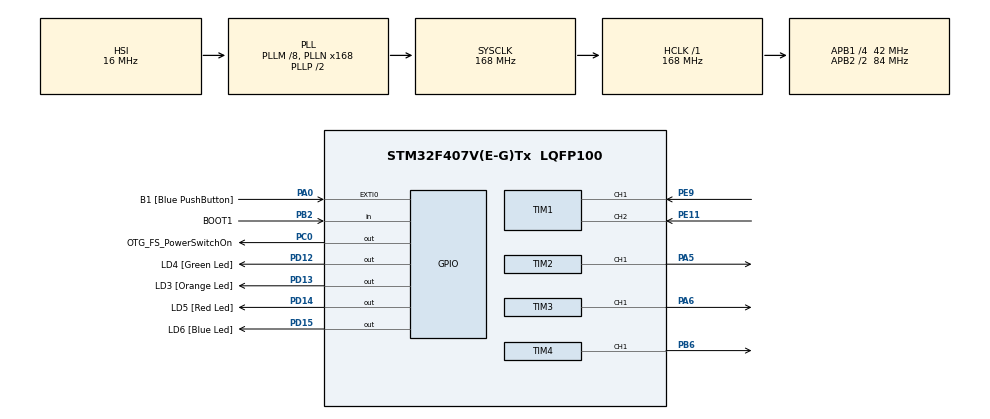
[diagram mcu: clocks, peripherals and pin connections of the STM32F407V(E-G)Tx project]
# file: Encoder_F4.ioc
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Mcu.Family=STM32F4
Mcu.Name=STM32F407V(E-G)Tx
Mcu.Package=LQFP100
NVIC.PriorityGroup=NVIC_PRIORITYGROUP_0
NVIC.TIM1_BRK_TIM9_IRQn=true\:0\:0\:false\:false\:true\:true\:true\:true
NVIC.TIM1_CC_IRQn=true\:0\:0\:false\:false\:true\:true\:true\:true
NVIC.TIM1_TRG_COM_TIM11_IRQn=true\:0\:0\:false\:false\:true\:true\:true\:true
NVIC.TIM1_UP_TIM10_IRQn=true\:0\:0\:false\:false\:true\:true\:true\:true
NVIC.TIM2_IRQn=true\:0\:0\:false\:false\:true\:true\:true\:true
NVIC.TIM3_IRQn=true\:0\:0\:false\:false\:true\:true\:true\:true
NVIC.TIM4_IRQn=true\:0\:0\:false\:false\:true\:true\:true\:true
PA0-WKUP.GPIO_Label=B1 [Blue PushButton]
PA0-WKUP.Signal=GPXTI0
PA13.GPIO_Label=SWDIO
PA13.Signal=SYS_JTMS-SWDIO
PA14.GPIO_Label=SWCLK
PA14.Signal=SYS_JTCK-SWCLK
PA5.Signal=S_TIM2_CH1_ETR
PA6.Signal=S_TIM3_CH1
PB2.GPIO_Label=BOOT1
PB2.GPIO_Mode=GPIO_MODE_INPUT
PB2.GPIO_PuPd=GPIO_NOPULL
PB2.Signal=GPIO_Input
PB3.GPIO_Label=SWO
PB3.Signal=SYS_JTDO-SWO
PB6.Signal=S_TIM4_CH1
PC0.GPIO_Label=OTG_FS_PowerSwitchOn
PC0.GPIO_PuPd=GPIO_NOPULL
PC0.GPIO_Speed=GPIO_SPEED_FREQ_LOW
PC0.PinState=GPIO_PIN_SET
PC0.Signal=GPIO_Output
PC14-OSC32_IN.Mode=LSE-External-Oscillator
PC14-OSC32_IN.Signal=RCC_OSC32_IN
PC15-OSC32_OUT.Mode=LSE-External-Oscillator
PC15-OSC32_OUT.Signal=RCC_OSC32_OUT
PD12.GPIO_Label=LD4 [Green Led]
PD12.GPIO_PuPd=GPIO_NOPULL
PD12.GPIO_Speed=GPIO_SPEED_FREQ_LOW
PD12.Signal=GPIO_Output
PD13.GPIO_Label=LD3 [Orange Led]
PD13.GPIO_PuPd=GPIO_NOPULL
PD13.GPIO_Speed=GPIO_SPEED_FREQ_LOW
PD13.Signal=GPIO_Output
PD14.GPIO_Label=LD5 [Red Led]
PD14.GPIO_PuPd=GPIO_NOPULL
PD14.GPIO_Speed=GPIO_SPEED_FREQ_LOW
PD14.Signal=GPIO_Output
PD15.GPIO_Label=LD6 [Blue Led]
PD15.GPIO_PuPd=GPIO_NOPULL
PD15.GPIO_Speed=GPIO_SPEED_FREQ_LOW
PD15.Signal=GPIO_Output
PE11.Signal=S_TIM1_CH2
PE9.Signal=S_TIM1_CH1
PH0-OSC_IN.GPIO_Label=PH0-OSC_IN
PH0-OSC_IN.Mode=HSE-External-Oscillator
PH0-OSC_IN.Signal=RCC_OSC_IN
PH1-OSC_OUT.GPIO_Label=PH1-OSC_OUT
PH1-OSC_OUT.Mode=HSE-External-Oscillator
PH1-OSC_OUT.Signal=RCC_OSC_OUT
ProjectManager.HeapSize=0x200
ProjectManager.StackSize=0x400
ProjectManager.TargetToolchain=STM32CubeIDE
RCC.48MHZClocksFreq_Value=48000000
RCC.AHBFreq_Value=168000000
RCC.APB1CLKDivider=RCC_HCLK_DIV4
RCC.APB1Freq_Value=42000000
RCC.APB1TimFreq_Value=84000000
RCC.APB2CLKDivider=RCC_HCLK_DIV2
RCC.APB2Freq_Value=84000000
RCC.APB2TimFreq_Value=168000000
RCC.CortexFreq_Value=168000000
RCC.HCLKFreq_Value=168000000
RCC.HSE_VALUE=8000000
RCC.HSI_VALUE=16000000
RCC.PLLM=8
RCC.PLLN=168
RCC.PLLQ=7
RCC.SYSCLKFreq_VALUE=168000000
RCC.SYSCLKSource=RCC_SYSCLKSOURCE_PLLCLK
RCC.VCOOutputFreq_Value=336000000
SH.S_TIM1_CH1.0=TIM1_CH1,Encoder_Interface
SH.S_TIM1_CH2.0=TIM1_CH2,Encoder_Interface
SH.S_TIM2_CH1_ETR.0=TIM2_CH1,PWM Generation1 CH1
SH.S_TIM3_CH1.0=TIM3_CH1,PWM Generation1 CH1
SH.S_TIM4_CH1.0=TIM4_CH1,PWM Generation1 CH1
TIM1.AutoReloadPreload=TIM_AUTORELOAD_PRELOAD_ENABLE
TIM1.EncoderMode=TIM_ENCODERMODE_TI12
TIM1.IC1Filter=10
TIM1.IC1Polarity=TIM_ICPOLARITY_FALLING
TIM1.IC2Filter=10
TIM1.IC2Polarity=TIM_ICPOLARITY_FALLING
TIM2.AutoReloadPreload=TIM_AUTORELOAD_PRELOAD_ENABLE
TIM2.Channel-Output\ Compare2\ No\ Output=TIM_CHANNEL_2
TIM2.Channel-PWM\ Generation1\ CH1=TIM_CHANNEL_1
TIM2.OCMode_2=TIM_OCMODE_ACTIVE
TIM2.OCMode_PWM-PWM\ Generation1\ CH1=TIM_OCMODE_PWM2
TIM2.OCPolarity_2=TIM_OCPOLARITY_HIGH
TIM2.Period=10000-1
TIM2.Prescaler=168-1
TIM2.Pulse-Output\ Compare2\ No\ Output=2500
TIM2.Pulse-PWM\ Generation1\ CH1=5000
TIM2.TIM_MasterOutputTrigger=TIM_TRGO_OC2REF
TIM3.AutoReloadPreload=TIM_AUTORELOAD_PRELOAD_ENABLE
TIM3.Channel-Output\ Compare2\ No\ Output=TIM_CHANNEL_2
TIM3.Channel-PWM\ Generation1\ CH1=TIM_CHANNEL_1
TIM3.OCMode_2=TIM_OCMODE_ACTIVE
TIM3.OCMode_PWM-PWM\ Generation1\ CH1=TIM_OCMODE_PWM1
TIM3.OCPolarity_1=TIM_OCPOLARITY_HIGH
TIM3.Period=10000-1
TIM3.Prescaler=168-1
TIM3.Pulse-Output\ Compare2\ No\ Output=2500
TIM3.Pulse-PWM\ Generation1\ CH1=5000
TIM3.TIM_MasterOutputTrigger=TIM_TRGO_OC2REF
TIM4.AutoReloadPreload=TIM_AUTORELOAD_PRELOAD_ENABLE
TIM4.Channel-PWM\ Generation1\ CH1=TIM_CHANNEL_1
TIM4.OCFastMode_PWM-PWM\ Generation1\ CH1=TIM_OCFAST_DISABLE
TIM4.OCMode_PWM-PWM\ Generation1\ CH1=TIM_OCMODE_PWM1
TIM4.Period=10000-1
TIM4.Prescaler=168-1
TIM4.Pulse-PWM\ Generation1\ CH1=5000
TIM4.TIM_MasterOutputTrigger=TIM_TRGO_RESET
VP_TIM2_VS_ClockSourceINT.Mode=Internal
VP_TIM2_VS_no_output2.Mode=Output Compare2 No Output
VP_TIM3_VS_ClockSourceINT.Mode=Internal
VP_TIM3_VS_ClockSourceITR.Mode=TriggerSource_ITR1
VP_TIM3_VS_ControllerModeTrigger.Mode=Trigger Mode
VP_TIM3_VS_no_output2.Mode=Output Compare2 No Output
VP_TIM4_VS_ClockSourceINT.Mode=Internal
VP_TIM4_VS_ClockSourceITR.Mode=TriggerSource_ITR2
VP_TIM4_VS_ControllerModeTrigger.Mode=Trigger Mode
board=STM32F407G-DISC1

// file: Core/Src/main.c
/* USER CODE BEGIN Header */
/**
 ******************************************************************************
 * @file           : main.c
 * @brief          : Main program body
 ******************************************************************************
 * @attention
 *
 * Copyright (c) 2023 STMicroelectronics.
 * All rights reserved.
 *
 * This software is licensed under terms that can be found in the LICENSE file
 * in the root directory of this software component.
 * If no LICENSE file comes with this software, it is provided AS-IS.
 *
 ******************************************************************************
 */
/* USER CODE END Header */
#include "main.h"

/* USER CODE BEGIN PD */
uint32_t counter = 0;
int16_t count = 0, position = 0;
int16_t speed = 0;

int pwmcall = 0, triggercall = 0, ocCmpcall = 0;
uint32_t pulse1 = 3000, pulse2 = 2500;

int invert = 0;

/* USER CODE END PD */

TIM_HandleTypeDef htim1;
TIM_HandleTypeDef htim2;
TIM_HandleTypeDef htim3;
TIM_HandleTypeDef htim4;

void SystemClock_Config(void);
static void MX_GPIO_Init(void);
static void MX_TIM1_Init(void);
static void MX_TIM2_Init(void);
static void MX_TIM3_Init(void);
static void MX_TIM4_Init(void);
/* USER CODE BEGIN PFP */
void HAL_TIM_IC_CaptureCallback(TIM_HandleTypeDef *htim) {
	counter = __HAL_TIM_GET_COUNTER(htim);
	count = (int32_t) counter;
	position = count / 4;
}
/* USER CODE END PFP */

/* USER CODE BEGIN 0 */
void HAL_TIM_PWM_PulseFinishedCallback(TIM_HandleTypeDef *htim) {
	pwmcall += 1;

	if (pwmcall > 100) {
//		HAL_TIM_PWM_Stop_IT(htim, TIM_CHANNEL_1);
	}
}

void HAL_TIM_OC_DelayElapsedCallback(TIM_HandleTypeDef *htim) {
	ocCmpcall += 1;
	if (ocCmpcall > 100) {
//		HAL_TIM_OC_Stop_IT(htim, TIM_CHANNEL_2);
	}
}

void HAL_TIM_TriggerCallback(TIM_HandleTypeDef *htim) {
	triggercall += 1;
}
/* USER CODE END 0 */

int main(void) {

	/* MCU Configuration--------------------------------------------------------*/

	/* Reset of all peripherals, Initializes the Flash interface and the Systick. */
	HAL_Init();

	/* Configure the system clock */
	SystemClock_Config();

	/* Initialize all configured peripherals */
	MX_GPIO_Init();
	MX_TIM1_Init();
	MX_TIM2_Init();
	MX_TIM3_Init();
	MX_TIM4_Init();
	/* USER CODE BEGIN 2 */
	HAL_TIM_Encoder_Start_IT(&htim1, TIM_CHANNEL_ALL);

	/* USER CODE END 2 */

	/* Infinite loop */
	/* USER CODE BEGIN WHILE */
	while (1) {

		HAL_TIM_PWM_Start_IT(&htim2, TIM_CHANNEL_1);
		HAL_TIM_OC_Start_IT(&htim2, TIM_CHANNEL_2);
		HAL_TIM_PWM_Start_IT(&htim3, TIM_CHANNEL_1);
		HAL_TIM_OC_Start_IT(&htim3, TIM_CHANNEL_2);
		HAL_TIM_PWM_Start_IT(&htim4, TIM_CHANNEL_1);

		HAL_Delay(5000);
//
//		HAL_TIM_PWM_Stop_IT(&htim2, TIM_CHANNEL_1);
//		HAL_TIM_OC_Stop_IT(&htim2, TIM_CHANNEL_2);
//		HAL_TIM_PWM_Stop_IT(&htim3, TIM_CHANNEL_1);
//		HAL_TIM_OC_Stop_IT(&htim3, TIM_CHANNEL_2);
//		HAL_TIM_PWM_Stop_IT(&htim4, TIM_CHANNEL_1);
//
//		HAL_Delay(5000);
//
//		 MX_TIM2_Init();
//		 MX_TIM3_Init();

		invert = 1;
		MX_TIM4_Init();
		/* USER CODE END WHILE */

	}
}

void SystemClock_Config(void) {
	RCC_OscInitTypeDef RCC_OscInitStruct = { 0 };
	RCC_ClkInitTypeDef RCC_ClkInitStruct = { 0 };

	/** Configure the main internal regulator output voltage
	 */
	__HAL_RCC_PWR_CLK_ENABLE();
	__HAL_PWR_VOLTAGESCALING_CONFIG(PWR_REGULATOR_VOLTAGE_SCALE1);

	/** Initializes the RCC Oscillators according to the specified parameters
	 * in the RCC_OscInitTypeDef structure.
	 */
	RCC_OscInitStruct.OscillatorType = RCC_OSCILLATORTYPE_HSI;
	RCC_OscInitStruct.HSIState = RCC_HSI_ON;
	RCC_OscInitStruct.HSICalibrationValue = RCC_HSICALIBRATION_DEFAULT;
	RCC_OscInitStruct.PLL.PLLState = RCC_PLL_ON;
	RCC_OscInitStruct.PLL.PLLSource = RCC_PLLSOURCE_HSI;
	RCC_OscInitStruct.PLL.PLLM = 8;
	RCC_OscInitStruct.PLL.PLLN = 168;
	RCC_OscInitStruct.PLL.PLLP = RCC_PLLP_DIV2;
	RCC_OscInitStruct.PLL.PLLQ = 7;
	if (HAL_RCC_OscConfig(&RCC_OscInitStruct) != HAL_OK) {
		Error_Handler();
	}

	/** Initializes the CPU, AHB and APB buses clocks
	 */
	RCC_ClkInitStruct.ClockType = RCC_CLOCKTYPE_HCLK | RCC_CLOCKTYPE_SYSCLK
			| RCC_CLOCKTYPE_PCLK1 | RCC_CLOCKTYPE_PCLK2;
	RCC_ClkInitStruct.SYSCLKSource = RCC_SYSCLKSOURCE_PLLCLK;
	RCC_ClkInitStruct.AHBCLKDivider = RCC_SYSCLK_DIV1;
	RCC_ClkInitStruct.APB1CLKDivider = RCC_HCLK_DIV4;
	RCC_ClkInitStruct.APB2CLKDivider = RCC_HCLK_DIV2;

	if (HAL_RCC_ClockConfig(&RCC_ClkInitStruct, FLASH_LATENCY_5) != HAL_OK) {
		Error_Handler();
	}
}

static void MX_TIM1_Init(void) {

	TIM_Encoder_InitTypeDef sConfig = { 0 };
	TIM_MasterConfigTypeDef sMasterConfig = { 0 };

	htim1.Instance = TIM1;
	htim1.Init.Prescaler = 0;
	htim1.Init.CounterMode = TIM_COUNTERMODE_UP;
	htim1.Init.Period = 65535;
	htim1.Init.ClockDivision = TIM_CLOCKDIVISION_DIV1;
	htim1.Init.RepetitionCounter = 0;
	htim1.Init.AutoReloadPreload = TIM_AUTORELOAD_PRELOAD_ENABLE;
	sConfig.EncoderMode = TIM_ENCODERMODE_TI12;
	sConfig.IC1Polarity = TIM_ICPOLARITY_FALLING;
	sConfig.IC1Selection = TIM_ICSELECTION_DIRECTTI;
	sConfig.IC1Prescaler = TIM_ICPSC_DIV1;
	sConfig.IC1Filter = 10;
	sConfig.IC2Polarity = TIM_ICPOLARITY_FALLING;
	sConfig.IC2Selection = TIM_ICSELECTION_DIRECTTI;
	sConfig.IC2Prescaler = TIM_ICPSC_DIV1;
	sConfig.IC2Filter = 10;
	if (HAL_TIM_Encoder_Init(&htim1, &sConfig) != HAL_OK) {
		Error_Handler();
	}
	sMasterConfig.MasterOutputTrigger = TIM_TRGO_RESET;
	sMasterConfig.MasterSlaveMode = TIM_MASTERSLAVEMODE_DISABLE;
	if (HAL_TIMEx_MasterConfigSynchronization(&htim1, &sMasterConfig)
			!= HAL_OK) {
		Error_Handler();
	}

}

static void MX_TIM2_Init(void) {

	TIM_ClockConfigTypeDef sClockSourceConfig = { 0 };
	TIM_MasterConfigTypeDef sMasterConfig = { 0 };
	TIM_OC_InitTypeDef sConfigOC = { 0 };

	htim2.Instance = TIM2;
	htim2.Init.Prescaler = 168 - 1;
	htim2.Init.CounterMode = TIM_COUNTERMODE_UP;
	htim2.Init.Period = 10000 - 1;
	htim2.Init.ClockDivision = TIM_CLOCKDIVISION_DIV1;
	htim2.Init.AutoReloadPreload = TIM_AUTORELOAD_PRELOAD_ENABLE;
	if (HAL_TIM_Base_Init(&htim2) != HAL_OK) {
		Error_Handler();
	}
	sClockSourceConfig.ClockSource = TIM_CLOCKSOURCE_INTERNAL;
	if (HAL_TIM_ConfigClockSource(&htim2, &sClockSourceConfig) != HAL_OK) {
		Error_Handler();
	}
	if (HAL_TIM_PWM_Init(&htim2) != HAL_OK) {
		Error_Handler();
	}
	if (HAL_TIM_OC_Init(&htim2) != HAL_OK) {
		Error_Handler();
	}
	sMasterConfig.MasterOutputTrigger = TIM_TRGO_OC2REF;
	sMasterConfig.MasterSlaveMode = TIM_MASTERSLAVEMODE_DISABLE;
	if (HAL_TIMEx_MasterConfigSynchronization(&htim2, &sMasterConfig)
			!= HAL_OK) {
		Error_Handler();
	}
	sConfigOC.OCMode = TIM_OCMODE_PWM2;
	sConfigOC.Pulse = 5000;
	sConfigOC.OCPolarity = TIM_OCPOLARITY_HIGH;
	sConfigOC.OCFastMode = TIM_OCFAST_DISABLE;
	if (HAL_TIM_PWM_ConfigChannel(&htim2, &sConfigOC, TIM_CHANNEL_1)
			!= HAL_OK) {
		Error_Handler();
	}
	sConfigOC.OCMode = TIM_OCMODE_ACTIVE;
	sConfigOC.Pulse = 2500;
	if (HAL_TIM_OC_ConfigChannel(&htim2, &sConfigOC, TIM_CHANNEL_2) != HAL_OK) {
		Error_Handler();
	}
	HAL_TIM_MspPostInit(&htim2);

}

static void MX_TIM3_Init(void) {

	TIM_ClockConfigTypeDef sClockSourceConfig = { 0 };
	TIM_SlaveConfigTypeDef sSlaveConfig = { 0 };
	TIM_MasterConfigTypeDef sMasterConfig = { 0 };
	TIM_OC_InitTypeDef sConfigOC = { 0 };

	htim3.Instance = TIM3;
	htim3.Init.Prescaler = 168 - 1;
	htim3.Init.CounterMode = TIM_COUNTERMODE_UP;
	htim3.Init.Period = 10000 - 1;
	htim3.Init.ClockDivision = TIM_CLOCKDIVISION_DIV1;
	htim3.Init.AutoReloadPreload = TIM_AUTORELOAD_PRELOAD_ENABLE;
	if (HAL_TIM_Base_Init(&htim3) != HAL_OK) {
		Error_Handler();
	}
	sClockSourceConfig.ClockSource = TIM_CLOCKSOURCE_INTERNAL;
	if (HAL_TIM_ConfigClockSource(&htim3, &sClockSourceConfig) != HAL_OK) {
		Error_Handler();
	}
	if (HAL_TIM_PWM_Init(&htim3) != HAL_OK) {
		Error_Handler();
	}
	if (HAL_TIM_OC_Init(&htim3) != HAL_OK) {
		Error_Handler();
	}
	sSlaveConfig.SlaveMode = TIM_SLAVEMODE_TRIGGER;
	sSlaveConfig.InputTrigger = TIM_TS_ITR1;
	if (HAL_TIM_SlaveConfigSynchro(&htim3, &sSlaveConfig) != HAL_OK) {
		Error_Handler();
	}
	sMasterConfig.MasterOutputTrigger = TIM_TRGO_OC2REF;
	sMasterConfig.MasterSlaveMode = TIM_MASTERSLAVEMODE_DISABLE;
	if (HAL_TIMEx_MasterConfigSynchronization(&htim3, &sMasterConfig)
			!= HAL_OK) {
		Error_Handler();
	}
	sConfigOC.OCMode = TIM_OCMODE_PWM1;
	sConfigOC.Pulse = 5000;
	if (invert == 0) {
		sConfigOC.OCPolarity = TIM_OCPOLARITY_HIGH;
	}
	if (invert == 1) {
		sConfigOC.OCPolarity = TIM_OCPOLARITY_LOW;
	}
	sConfigOC.OCFastMode = TIM_OCFAST_DISABLE;
	if (HAL_TIM_PWM_ConfigChannel(&htim3, &sConfigOC, TIM_CHANNEL_1)
			!= HAL_OK) {
		Error_Handler();
	}
	sConfigOC.OCMode = TIM_OCMODE_ACTIVE;
	sConfigOC.Pulse = 2500;
	if (HAL_TIM_OC_ConfigChannel(&htim3, &sConfigOC, TIM_CHANNEL_2) != HAL_OK) {
		Error_Handler();
	}
	HAL_TIM_MspPostInit(&htim3);

}

static void MX_TIM4_Init(void) {

	TIM_ClockConfigTypeDef sClockSourceConfig = { 0 };
	TIM_SlaveConfigTypeDef sSlaveConfig = { 0 };
	TIM_MasterConfigTypeDef sMasterConfig = { 0 };
	TIM_OC_InitTypeDef sConfigOC = { 0 };

	htim4.Instance = TIM4;
	htim4.Init.Prescaler = 168 - 1;
	htim4.Init.CounterMode = TIM_COUNTERMODE_UP;
	htim4.Init.Period = 10000 - 1;
	htim4.Init.ClockDivision = TIM_CLOCKDIVISION_DIV1;
	htim4.Init.AutoReloadPreload = TIM_AUTORELOAD_PRELOAD_ENABLE;
	if (HAL_TIM_Base_Init(&htim4) != HAL_OK) {
		Error_Handler();
	}
	sClockSourceConfig.ClockSource = TIM_CLOCKSOURCE_INTERNAL;
	if (HAL_TIM_ConfigClockSource(&htim4, &sClockSourceConfig) != HAL_OK) {
		Error_Handler();
	}
	if (HAL_TIM_PWM_Init(&htim4) != HAL_OK) {
		Error_Handler();
	}
	sSlaveConfig.SlaveMode = TIM_SLAVEMODE_TRIGGER;
	sSlaveConfig.InputTrigger = TIM_TS_ITR2;
	if (HAL_TIM_SlaveConfigSynchro(&htim4, &sSlaveConfig) != HAL_OK) {
		Error_Handler();
	}
	sMasterConfig.MasterOutputTrigger = TIM_TRGO_RESET;
	sMasterConfig.MasterSlaveMode = TIM_MASTERSLAVEMODE_DISABLE;
	if (HAL_TIMEx_MasterConfigSynchronization(&htim4, &sMasterConfig)
			!= HAL_OK) {
		Error_Handler();
	}
	sConfigOC.OCMode = TIM_OCMODE_PWM1;
	sConfigOC.Pulse = 5000;
	sConfigOC.OCPolarity = TIM_OCPOLARITY_HIGH;

	sConfigOC.OCFastMode = TIM_OCFAST_DISABLE;
	if (HAL_TIM_PWM_ConfigChannel(&htim4, &sConfigOC, TIM_CHANNEL_1)
			!= HAL_OK) {
		Error_Handler();
	}
	HAL_TIM_MspPostInit(&htim4);

}

static void MX_GPIO_Init(void) {
	GPIO_InitTypeDef GPIO_InitStruct = { 0 };

	/* GPIO Ports Clock Enable */
	__HAL_RCC_GPIOC_CLK_ENABLE();
	__HAL_RCC_GPIOH_CLK_ENABLE();
	__HAL_RCC_GPIOA_CLK_ENABLE();
	__HAL_RCC_GPIOB_CLK_ENABLE();
	__HAL_RCC_GPIOE_CLK_ENABLE();
	__HAL_RCC_GPIOD_CLK_ENABLE();

	/*Configure GPIO pin Output Level */
	HAL_GPIO_WritePin(OTG_FS_PowerSwitchOn_GPIO_Port, OTG_FS_PowerSwitchOn_Pin,
			GPIO_PIN_SET);

	/*Configure GPIO pin Output Level */
	HAL_GPIO_WritePin(GPIOD, LD4_Pin | LD3_Pin | LD5_Pin | LD6_Pin,
			GPIO_PIN_RESET);

	/*Configure GPIO pin : OTG_FS_PowerSwitchOn_Pin */
	GPIO_InitStruct.Pin = OTG_FS_PowerSwitchOn_Pin;
	GPIO_InitStruct.Mode = GPIO_MODE_OUTPUT_PP;
	GPIO_InitStruct.Pull = GPIO_NOPULL;
	GPIO_InitStruct.Speed = GPIO_SPEED_FREQ_LOW;
	HAL_GPIO_Init(OTG_FS_PowerSwitchOn_GPIO_Port, &GPIO_InitStruct);

	/*Configure GPIO pin : B1_Pin */
	GPIO_InitStruct.Pin = B1_Pin;
	GPIO_InitStruct.Mode = GPIO_MODE_IT_RISING;
	GPIO_InitStruct.Pull = GPIO_NOPULL;
	HAL_GPIO_Init(B1_GPIO_Port, &GPIO_InitStruct);

	/*Configure GPIO pin : BOOT1_Pin */
	GPIO_InitStruct.Pin = BOOT1_Pin;
	GPIO_InitStruct.Mode = GPIO_MODE_INPUT;
	GPIO_InitStruct.Pull = GPIO_NOPULL;
	HAL_GPIO_Init(BOOT1_GPIO_Port, &GPIO_InitStruct);

	/*Configure GPIO pins : LD4_Pin LD3_Pin LD5_Pin LD6_Pin */
	GPIO_InitStruct.Pin = LD4_Pin | LD3_Pin | LD5_Pin | LD6_Pin;
	GPIO_InitStruct.Mode = GPIO_MODE_OUTPUT_PP;
	GPIO_InitStruct.Pull = GPIO_NOPULL;
	GPIO_InitStruct.Speed = GPIO_SPEED_FREQ_LOW;
	HAL_GPIO_Init(GPIOD, &GPIO_InitStruct);

}

void Error_Handler(void) {
	__disable_irq();
	while (1) {
	}
}
